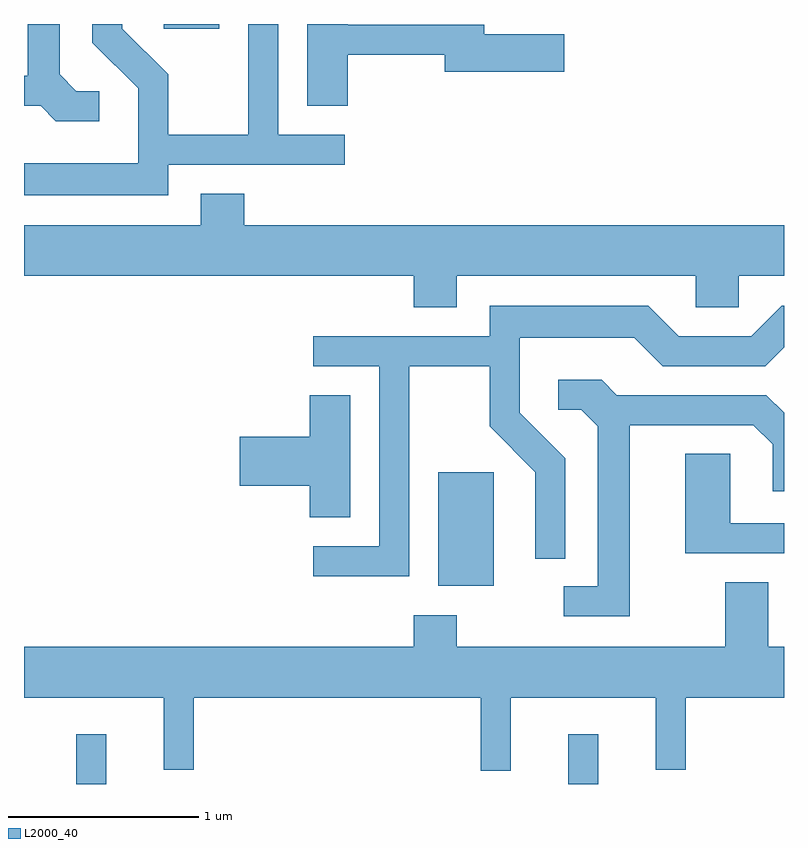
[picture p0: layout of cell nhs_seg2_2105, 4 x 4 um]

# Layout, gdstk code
import gdstk
lib = gdstk.Library(unit=1e-6, precision=1e-09)
def R(c, l, rs):  # rectangles x0, y0, x1, y1
    for r in rs: c.add(gdstk.rectangle(r[:2], r[2:], *l))
def P(c, l, *ps):  # polygons
    for p in ps: c.add(gdstk.Polygon(p, *l))
L2000_40 = (2000, 40)

nhs_seg2_2105 = lib.new_cell('nhs_seg2_2105')
R(nhs_seg2_2105, L2000_40, [(245.886,1107.802,246.044,1108.063), (248.476,1107.802,248.634,1108.063), (247.791,1108.846,248.084,1109.444), (246.346,1111.776,246.639,1111.802)])
P(nhs_seg2_2105, L2000_40, [(246.008,1111.449),(245.887,1111.449),(245.799,1111.537),(245.799,1111.802),(245.631,1111.802),(245.631,1111.529),(245.611,1111.529),(245.611,1111.371),(245.699,1111.371),(245.779,1111.291),(246.008,1111.291)],
  [(247.314,1111.641),(247.826,1111.641),(247.826,1111.551),(248.454,1111.551),(248.454,1111.749),(248.034,1111.749),(248.034,1111.799),(247.314,1111.799),(247.314,1111.802),(247.101,1111.802),(247.101,1111.371),(247.314,1111.371)],
  [(246.369,1111.061),(247.298,1111.061),(247.298,1111.219),(246.949,1111.219),(246.949,1111.802),(246.791,1111.802),(246.791,1111.219),(246.369,1111.219),(246.369,1111.537),(246.129,1111.777),(246.129,1111.802),(245.971,1111.802),(245.971,1111.704),(246.211,1111.464),(246.211,1111.069),(245.611,1111.069),(245.611,1110.901),(246.369,1110.901)],
  [(247.889,1110.476),(249.146,1110.476),(249.146,1110.311),(249.374,1110.311),(249.374,1110.476),(249.611,1110.476),(249.611,1110.744),(246.769,1110.744),(246.769,1110.909),(246.541,1110.909),(246.541,1110.744),(245.611,1110.744),(245.611,1110.476),(247.661,1110.476),(247.661,1110.311),(247.889,1110.311)],
  [(247.639,1110.001),(248.061,1110.001),(248.061,1109.684),(248.301,1109.444),(248.301,1108.988),(248.459,1108.988),(248.459,1109.517),(248.219,1109.757),(248.219,1110.151),(248.824,1110.151),(248.974,1110.001),(249.512,1110.001),(249.611,1110.1),(249.611,1110.319),(249.599,1110.319),(249.439,1110.159),(249.057,1110.159),(248.897,1110.319),(248.061,1110.319),(248.061,1110.159),(247.133,1110.159),(247.133,1110.001),(247.481,1110.001),(247.481,1109.054),(247.133,1109.054),(247.133,1108.896),(247.639,1108.896)],
  [(248.799,1109.691),(249.449,1109.691),(249.551,1109.589),(249.551,1109.343),(249.611,1109.343),(249.611,1109.755),(249.517,1109.849),(248.732,1109.849),(248.652,1109.929),(248.423,1109.929),(248.423,1109.771),(248.544,1109.771),(248.631,1109.684),(248.631,1108.844),(248.453,1108.844),(248.453,1108.686),(248.799,1108.686)],
  [(247.329,1109.849),(247.116,1109.849),(247.116,1109.629),(246.746,1109.629),(246.746,1109.371),(247.116,1109.371),(247.116,1109.206),(247.329,1109.206)],
  [(249.611,1109.174),(249.329,1109.174),(249.329,1109.539),(249.091,1109.539),(249.091,1109.016),(249.611,1109.016)],
  [(248.174,1108.256),(248.936,1108.256),(248.936,1107.878),(249.094,1107.878),(249.094,1108.256),(249.611,1108.256),(249.611,1108.524),(249.529,1108.524),(249.529,1108.864),(249.301,1108.864),(249.301,1108.524),(247.889,1108.524),(247.889,1108.689),(247.661,1108.689),(247.661,1108.524),(245.611,1108.524),(245.611,1108.256),(246.346,1108.256),(246.346,1107.878),(246.504,1107.878),(246.504,1108.256),(248.016,1108.256),(248.016,1107.873),(248.174,1107.873)])

lib.write_gds('nhs_seg2_2105.gds')
